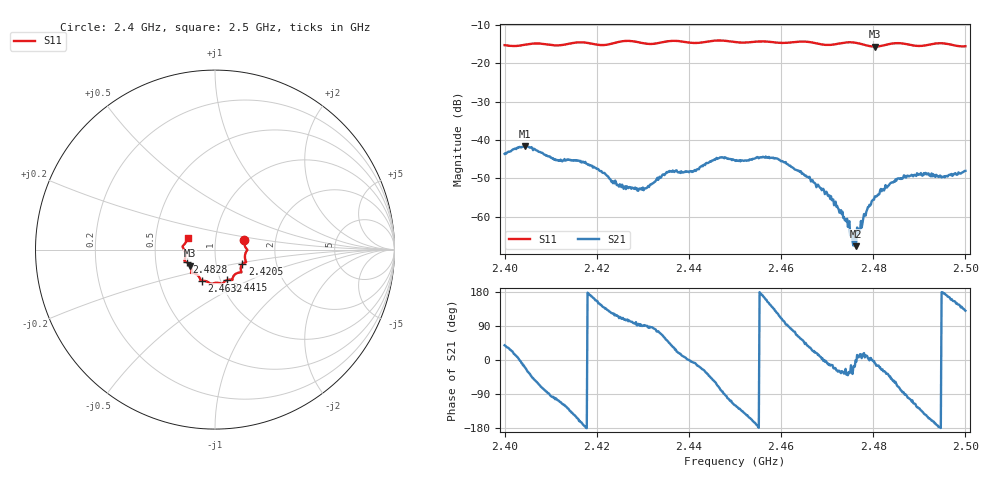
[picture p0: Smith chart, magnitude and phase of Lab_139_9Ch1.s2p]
# Hz S RI R 50
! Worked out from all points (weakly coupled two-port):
!   601 points, 2.4 GHz to 2.5 GHz, reference 50 ohm
!   highest |S21| = -41.52 dB at 2.4045 GHz (marker M1); lowest = -67.6 dB at 2.4762 GHz (marker M2)
!   lowest |S11| = -15.7 dB at 2.4803 GHz (marker M3), VSWR 1.39, Z = 37.4 - j6.84 ohm
!   |S11| at or under -10 dB: start of sweep to end of sweep
!   S12 and S22 are empty: the file has one direction only
!   S11 on the Smith chart (normalised r, x): 2.4 GHz: 1.38, +0.15; 2.4205 GHz: 1.34, -0.23; 2.4415 GHz: 1.07, -0.38; 2.4632 GHz: 0.82, -0.29; 2.4828 GHz: 0.72, -0.10; 2.5 GHz: 0.73, +0.10
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2.4e9  0.1632 0.0518  0.00515 0.00415  0 0  0 0
2.4045e9  0.1735 0.00686  0.00785 -0.00298  0 0  0 0
2.411167e9  0.1677 -0.0276  -0.00108 -0.00534  0 0  0 0
2.416667e9  0.173 -0.0697  -0.00493 -0.00136  0 0  0 0
2.4205e9  0.1518 -0.0817  -0.00346 0.00207  0 0  0 0
2.424833e9  0.1458 -0.1205  -0.000865 0.00232  0 0  0 0
2.4285e9  0.1414 -0.1268  -0.000401 0.00226  0 0  0 0
2.433333e9  0.1006 -0.1518  0.000727 0.00294  0 0  0 0
2.4415e9  0.0655 -0.1705  0.00389 -0.000691  0 0  0 0
2.4465e9  0.041 -0.1928  0.0018 -0.00552  0 0  0 0
2.45e9  0.0243 -0.1859  -0.00267 -0.00469  0 0  0 0
2.4585e9  -0.0347 -0.1833  -0.00403 0.0041  0 0  0 0
2.463167e9  -0.073 -0.174  0.00148 0.00383  0 0  0 0
2.466667e9  -0.0818 -0.1672  0.00268 0.00136  0 0  0 0
2.471333e9  -0.1122 -0.1334  0.00157 -0.000607  0 0  0 0
2.475833e9  -0.1337 -0.1287  0.000505 -0.000142  0 0  0 0
2.476167e9  -0.133 -0.1273  0.000416 -5.45e-06  0 0  0 0
2.480333e9  -0.1376 -0.089  0.00183 -0.000266  0 0  0 0
2.482833e9  -0.1587 -0.0702  0.00193 -0.00144  0 0  0 0
2.483333e9  -0.1625 -0.0684  0.00196 -0.00164  0 0  0 0
2.487167e9  -0.1684 -0.0543  -0.000123 -0.00325  0 0  0 0
2.5e9  -0.1527 0.0647  -0.00255 0.00304  0 0  0 0
